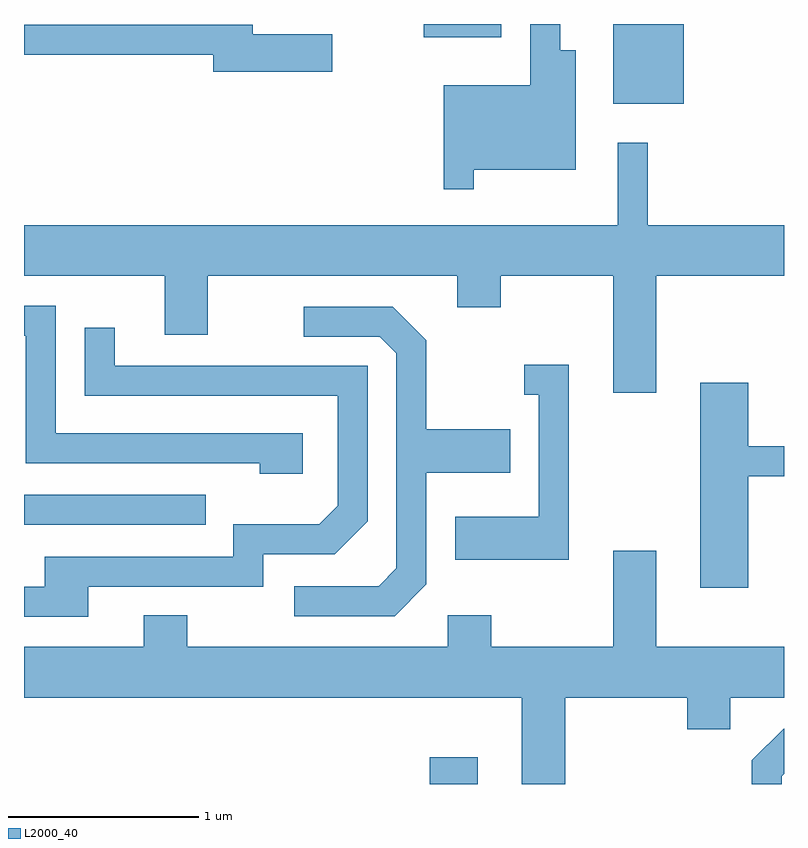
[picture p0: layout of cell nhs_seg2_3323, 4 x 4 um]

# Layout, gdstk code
import gdstk
lib = gdstk.Library(unit=1e-6, precision=1e-09)
def R(c, l, rs):  # rectangles x0, y0, x1, y1
    for r in rs: c.add(gdstk.rectangle(r[:2], r[2:], *l))
def P(c, l, *ps):  # polygons
    for p in ps: c.add(gdstk.Polygon(p, *l))
L2000_40 = (2000, 40)

nhs_seg2_3323 = lib.new_cell('nhs_seg2_3323')
R(nhs_seg2_3323, L2000_40, [(283.746,1107.802,283.999,1107.944), (281.611,1109.166,282.568,1109.324), (284.711,1111.381,285.084,1111.802), (283.716,1111.731,284.124,1111.802)])
P(nhs_seg2_3323, L2000_40, [(283.979,1111.036),(284.514,1111.036),(284.514,1111.664),(284.434,1111.664),(284.434,1111.802),(284.276,1111.802),(284.276,1111.479),(283.821,1111.479),(283.821,1110.933),(283.979,1110.933)],
  [(283.234,1111.749),(282.814,1111.749),(282.814,1111.799),(281.611,1111.799),(281.611,1111.641),(282.606,1111.641),(282.606,1111.551),(283.234,1111.551)],
  [(284.939,1110.476),(285.611,1110.476),(285.611,1110.744),(284.894,1110.744),(284.894,1111.178),(284.736,1111.178),(284.736,1110.744),(281.611,1110.744),(281.611,1110.476),(282.351,1110.476),(282.351,1110.166),(282.579,1110.166),(282.579,1110.476),(283.891,1110.476),(283.891,1110.311),(284.119,1110.311),(284.119,1110.476),(284.711,1110.476),(284.711,1109.861),(284.939,1109.861)],
  [(283.079,1109.649),(281.779,1109.649),(281.779,1110.319),(281.611,1110.319),(281.611,1110.161),(281.621,1110.161),(281.621,1109.491),(282.851,1109.491),(282.851,1109.436),(283.079,1109.436)],
  [(283.729,1108.854),(283.729,1109.441),(284.169,1109.441),(284.169,1109.669),(283.729,1109.669),(283.729,1110.137),(283.552,1110.314),(283.083,1110.314),(283.083,1110.156),(283.484,1110.156),(283.571,1110.069),(283.571,1108.937),(283.479,1108.844),(283.033,1108.844),(283.033,1108.686),(283.562,1108.686)],
  [(281.949,1108.841),(282.869,1108.841),(282.869,1109.011),(283.247,1109.011),(283.419,1109.184),(283.419,1110.004),(282.089,1110.004),(282.089,1110.203),(281.931,1110.203),(281.931,1109.846),(283.261,1109.846),(283.261,1109.267),(283.164,1109.169),(282.711,1109.169),(282.711,1108.999),(281.721,1108.999),(281.721,1108.839),(281.611,1108.839),(281.611,1108.681),(281.949,1108.681)],
  [(284.479,1110.009),(284.243,1110.009),(284.243,1109.851),(284.321,1109.851),(284.321,1109.209),(283.881,1109.209),(283.881,1108.981),(284.479,1108.981)],
  [(285.424,1109.421),(285.611,1109.421),(285.611,1109.579),(285.424,1109.579),(285.424,1109.914),(285.171,1109.914),(285.171,1108.836),(285.424,1108.836)],
  [(284.459,1108.256),(285.101,1108.256),(285.101,1108.091),(285.329,1108.091),(285.329,1108.256),(285.611,1108.256),(285.611,1108.524),(284.939,1108.524),(284.939,1109.029),(284.711,1109.029),(284.711,1108.524),(284.069,1108.524),(284.069,1108.689),(283.841,1108.689),(283.841,1108.524),(282.469,1108.524),(282.469,1108.689),(282.241,1108.689),(282.241,1108.524),(281.611,1108.524),(281.611,1108.256),(284.231,1108.256),(284.231,1107.802),(284.459,1107.802)],
  [(285.599,1107.844),(285.611,1107.856),(285.611,1108.094),(285.609,1108.094),(285.441,1107.927),(285.441,1107.802),(285.599,1107.802)])

lib.write_gds('nhs_seg2_3323.gds')
